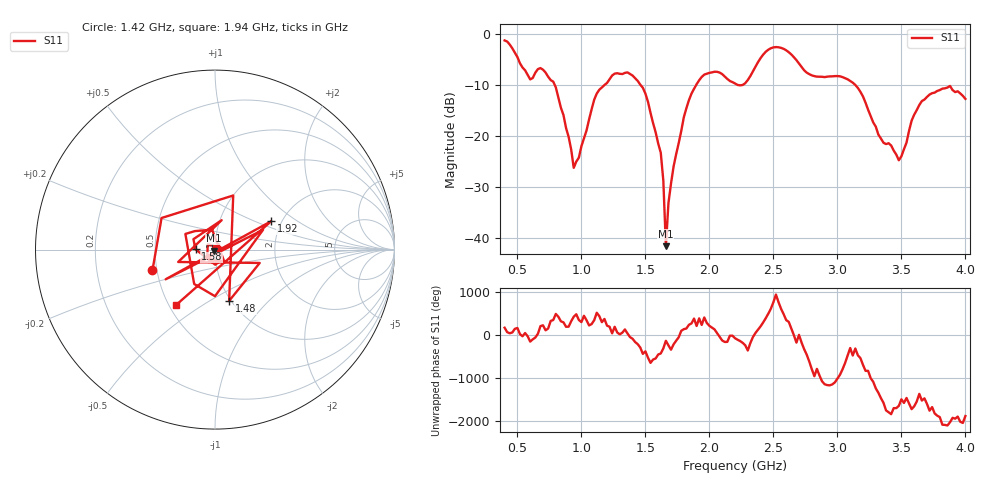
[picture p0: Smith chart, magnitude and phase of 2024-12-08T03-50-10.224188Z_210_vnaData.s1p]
!Created with skrf (http://scikit-rf.org).
# Hz S RI R 50.0
!freq ReS11 ImS11
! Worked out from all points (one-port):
!   181 points, 400 MHz to 4 GHz, reference 50 ohm
!   lowest |S11| = -41.6 dB at 1.66 GHz (marker M1), VSWR 1.02, Z = 49.4 - j0.613 ohm
!   |S11| at or under -10 dB: 791.5 MHz to 1.181 GHz (389.6 MHz wide, 39.5 % of centre); 1.462 GHz to 1.897 GHz (435.2 MHz wide, 25.9 % of centre); 3.14 GHz to end of sweep (the widest 3 of 4)
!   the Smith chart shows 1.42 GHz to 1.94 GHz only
!   S11 on the Smith chart (normalised r, x): 1.42 GHz: 0.47, -0.13; 1.48 GHz: 0.98, -0.61; 1.58 GHz: 0.80, +0.00; 1.92 GHz: 1.77, +0.64; 1.94 GHz: 0.54, -0.39
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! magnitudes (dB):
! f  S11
! 400 MHz  -1.3
! 600 MHz  -8.9
! 680 MHz  -6.7
! 780 MHz  -9.4
! 860 MHz  -15.9
! 940 MHz  -26.3
! 1.12 GHz  -11.7
! 1.3 GHz  -7.8
! 1.42 GHz  -8.7
! 1.48 GHz  -10.6
! 1.58 GHz  -19.3
! 1.62 GHz  -23.3
! 1.64 GHz  -28.8
! 1.66 GHz  -41.6
! 1.68 GHz  -33.2
! 1.76 GHz  -21.4
! 1.84 GHz  -13.0
! 1.92 GHz  -9.1
! 1.94 GHz  -8.4
! 2.2 GHz  -9.7
! 2.48 GHz  -2.8
! 2.66 GHz  -4.6
! 3.1 GHz  -9.2
! 3.48 GHz  -24.8
! 3.56 GHz  -19.0
! 3.72 GHz  -11.9
! 3.88 GHz  -10.2
! 4 GHz  -12.7
